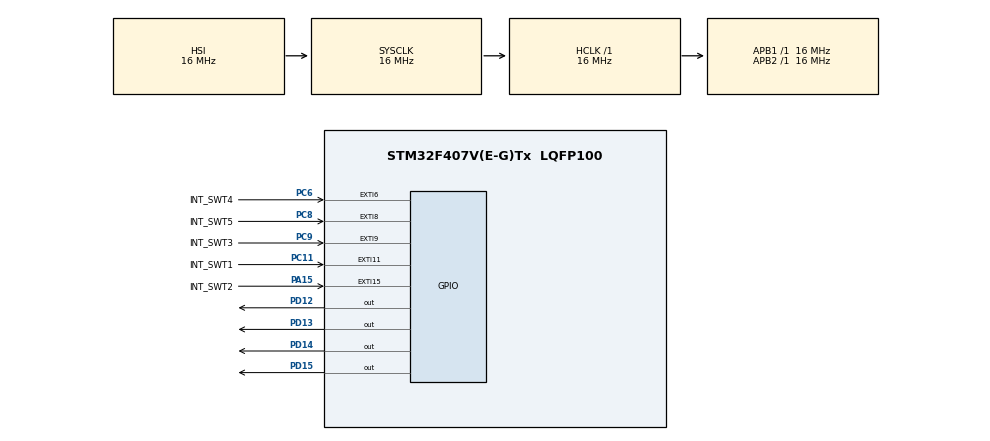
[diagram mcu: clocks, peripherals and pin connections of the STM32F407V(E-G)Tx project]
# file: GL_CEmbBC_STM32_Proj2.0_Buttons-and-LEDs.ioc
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Mcu.Family=STM32F4
Mcu.Name=STM32F407V(E-G)Tx
Mcu.Package=LQFP100
NVIC.EXTI15_10_IRQn=true\:0\:0\:false\:false\:true\:true\:true
NVIC.EXTI9_5_IRQn=true\:0\:0\:false\:false\:true\:true\:true
NVIC.PriorityGroup=NVIC_PRIORITYGROUP_4
PA15.GPIO_Label=INT_SWT2
PA15.GPIO_ModeDefaultEXTI=GPIO_MODE_IT_FALLING
PA15.Signal=GPXTI15
PC11.GPIO_Label=INT_SWT1
PC11.GPIO_ModeDefaultEXTI=GPIO_MODE_IT_FALLING
PC11.Signal=GPXTI11
PC6.GPIO_Label=INT_SWT4
PC6.GPIO_ModeDefaultEXTI=GPIO_MODE_IT_FALLING
PC6.Signal=GPXTI6
PC8.GPIO_Label=INT_SWT5
PC8.GPIO_ModeDefaultEXTI=GPIO_MODE_IT_FALLING
PC8.Signal=GPXTI8
PC9.GPIO_Label=INT_SWT3
PC9.GPIO_ModeDefaultEXTI=GPIO_MODE_IT_FALLING
PC9.Signal=GPXTI9
PD12.Signal=GPIO_Output
PD13.Signal=GPIO_Output
PD14.Signal=GPIO_Output
PD15.Signal=GPIO_Output
ProjectManager.HeapSize=0x200
ProjectManager.StackSize=0x400
ProjectManager.TargetToolchain=STM32CubeIDE
RCC.AHBFreq_Value=16000000
RCC.APB1Freq_Value=16000000
RCC.APB2Freq_Value=16000000
RCC.CortexFreq_Value=16000000
RCC.HSE_VALUE=25000000
RCC.HSI_VALUE=16000000
RCC.LSE_VALUE=32768
RCC.SYSCLKFreq_VALUE=16000000
RCC.VCOOutputFreq_Value=192000000
board=custom

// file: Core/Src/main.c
/* USER CODE BEGIN Header */
/**
  ******************************************************************************
  * @file           : main.c
  * @brief          : Main program body
  ******************************************************************************
  * @attention
  *
  * <h2><center>&copy; Copyright (c) 2021 STMicroelectronics.
  * All rights reserved.</center></h2>
  *
  * This software component is licensed by ST under BSD 3-Clause license,
  * the "License"; You may not use this file except in compliance with the
  * License. You may obtain a copy of the License at:
  *                        opensource.org/licenses/BSD-3-Clause
  *
  ******************************************************************************
  */
/* USER CODE END Header */
#include "main.h"

/* USER CODE BEGIN PV */

//static GPIO_PinState button_up = GPIO_PIN_RESET;
uint32_t blink_delay = 500;
uint8_t blink_mode = 0;
uint8_t blink_modes_num = 3;
bool is_enabled = true;

/* USER CODE END PV */

void SystemClock_Config(void);
static void MX_GPIO_Init(void);

int main(void)
{

  /* MCU Configuration--------------------------------------------------------*/

  /* Reset of all peripherals, Initializes the Flash interface and the Systick. */
  HAL_Init();

  /* Configure the system clock */
  SystemClock_Config();

  /* Initialize all configured peripherals */
  MX_GPIO_Init();
  /* USER CODE BEGIN 2 */

	// note: HARDWARE SETUP

	// pin_D12 = LED green	- INT_SWT5
	// pin_D13 = LED orange	- INT_SWT3
	// pin_D14 = LED red	- INT_SWT4
	// pin_D15 = LED blue	- INT_SWT1

	// pin_A15 	= button SWT2 (center)	- INT_SWT2
	// pin_C6	= button SWT4 (up)		- INT_SWT4
	// pin_C8	= button SWT5 (down)	- INT_SWT5
	// pin_C9	= button SWT3 (left)	- INT_SWT3
	// pin_C11 	= button SWT1 (right)	- INT_SWT1

  HAL_GPIO_WritePin(GPIOD, GPIO_PIN_12 | GPIO_PIN_13 | GPIO_PIN_14 | GPIO_PIN_15, GPIO_PIN_SET);
  HAL_Delay(1000);
  HAL_GPIO_WritePin(GPIOD, GPIO_PIN_12 | GPIO_PIN_13 | GPIO_PIN_14 | GPIO_PIN_15, GPIO_PIN_RESET);

  bool active_leds[4] = {0};
  uint8_t active_leds_size = (sizeof(active_leds) / sizeof(active_leds[0]));

  uint8_t mode0_i = 0;

  uint8_t mode1_i = 0;
  bool mode1_seq[4][4] =
  {
	  // g,o,r,b
  		{0,0,1,0}, 	// red
  		{0,1,1,0},	// red, orange
 		{1,0,0,0},	// green
  		{0,1,0,0}	// orange
  };

  /* USER CODE END 2 */

  /* Infinite loop */
  /* USER CODE BEGIN WHILE */
  while (1)
  {

	if (is_enabled)
	{
		switch(blink_mode)
		{
			case 0:
				// single active, shift on 1 led
				active_leds[mode0_i] = 0;
				active_leds[(mode0_i+1) % active_leds_size] = 1;
				mode0_i = (mode0_i+1) % active_leds_size;
				break;
			case 1:
				// road light sequence
				active_leds[0] = mode1_seq[mode1_i][0];
				active_leds[1] = mode1_seq[mode1_i][1];
				active_leds[2] = mode1_seq[mode1_i][2];
				active_leds[3] = mode1_seq[mode1_i][3];
				mode1_i = (mode1_i+1) % active_leds_size;
				break;
			default:
				// all leds blink sync
				active_leds[1] = active_leds[0];
				active_leds[2] = active_leds[0];
				active_leds[3] = active_leds[0];
				for (uint8_t i = 0; i < active_leds_size; i++)
				{
					active_leds[i] = !active_leds[i];
				}
				break;
		}

		HAL_GPIO_WritePin
		(
			GPIOD,
			active_leds[0] * GPIO_PIN_12 | active_leds[1] * GPIO_PIN_13 | active_leds[2] * GPIO_PIN_14 | active_leds[3] * GPIO_PIN_15,
			GPIO_PIN_SET
		);
		HAL_Delay(blink_delay);
		HAL_GPIO_WritePin(GPIOD, GPIO_PIN_12 | GPIO_PIN_13 | GPIO_PIN_14 | GPIO_PIN_15, GPIO_PIN_RESET);
	}

    /* USER CODE END WHILE */

  }
}

void SystemClock_Config(void)
{
  RCC_OscInitTypeDef RCC_OscInitStruct = {0};
  RCC_ClkInitTypeDef RCC_ClkInitStruct = {0};

  /** Configure the main internal regulator output voltage
  */
  __HAL_RCC_PWR_CLK_ENABLE();
  __HAL_PWR_VOLTAGESCALING_CONFIG(PWR_REGULATOR_VOLTAGE_SCALE1);
  /** Initializes the RCC Oscillators according to the specified parameters
  * in the RCC_OscInitTypeDef structure.
  */
  RCC_OscInitStruct.OscillatorType = RCC_OSCILLATORTYPE_HSI;
  RCC_OscInitStruct.HSIState = RCC_HSI_ON;
  RCC_OscInitStruct.HSICalibrationValue = RCC_HSICALIBRATION_DEFAULT;
  RCC_OscInitStruct.PLL.PLLState = RCC_PLL_NONE;
  if (HAL_RCC_OscConfig(&RCC_OscInitStruct) != HAL_OK)
  {
    Error_Handler();
  }
  /** Initializes the CPU, AHB and APB buses clocks
  */
  RCC_ClkInitStruct.ClockType = RCC_CLOCKTYPE_HCLK|RCC_CLOCKTYPE_SYSCLK
                              |RCC_CLOCKTYPE_PCLK1|RCC_CLOCKTYPE_PCLK2;
  RCC_ClkInitStruct.SYSCLKSource = RCC_SYSCLKSOURCE_HSI;
  RCC_ClkInitStruct.AHBCLKDivider = RCC_SYSCLK_DIV1;
  RCC_ClkInitStruct.APB1CLKDivider = RCC_HCLK_DIV1;
  RCC_ClkInitStruct.APB2CLKDivider = RCC_HCLK_DIV1;

  if (HAL_RCC_ClockConfig(&RCC_ClkInitStruct, FLASH_LATENCY_0) != HAL_OK)
  {
    Error_Handler();
  }
}

static void MX_GPIO_Init(void)
{
  GPIO_InitTypeDef GPIO_InitStruct = {0};

  /* GPIO Ports Clock Enable */
  __HAL_RCC_GPIOD_CLK_ENABLE();
  __HAL_RCC_GPIOC_CLK_ENABLE();
  __HAL_RCC_GPIOA_CLK_ENABLE();

  /*Configure GPIO pin Output Level */
  HAL_GPIO_WritePin(GPIOD, GPIO_PIN_12|GPIO_PIN_13|GPIO_PIN_14|GPIO_PIN_15, GPIO_PIN_RESET);

  /*Configure GPIO pins : PD12 PD13 PD14 PD15 */
  GPIO_InitStruct.Pin = GPIO_PIN_12|GPIO_PIN_13|GPIO_PIN_14|GPIO_PIN_15;
  GPIO_InitStruct.Mode = GPIO_MODE_OUTPUT_PP;
  GPIO_InitStruct.Pull = GPIO_NOPULL;
  GPIO_InitStruct.Speed = GPIO_SPEED_FREQ_LOW;
  HAL_GPIO_Init(GPIOD, &GPIO_InitStruct);

  /*Configure GPIO pins : INT_SWT4_Pin INT_SWT5_Pin INT_SWT3_Pin INT_SWT1_Pin */
  GPIO_InitStruct.Pin = INT_SWT4_Pin|INT_SWT5_Pin|INT_SWT3_Pin|INT_SWT1_Pin;
  GPIO_InitStruct.Mode = GPIO_MODE_IT_FALLING;
  GPIO_InitStruct.Pull = GPIO_NOPULL;
  HAL_GPIO_Init(GPIOC, &GPIO_InitStruct);

  /*Configure GPIO pin : INT_SWT2_Pin */
  GPIO_InitStruct.Pin = INT_SWT2_Pin;
  GPIO_InitStruct.Mode = GPIO_MODE_IT_FALLING;
  GPIO_InitStruct.Pull = GPIO_NOPULL;
  HAL_GPIO_Init(INT_SWT2_GPIO_Port, &GPIO_InitStruct);

  /* EXTI interrupt init*/
  HAL_NVIC_SetPriority(EXTI9_5_IRQn, 0, 0);
  HAL_NVIC_EnableIRQ(EXTI9_5_IRQn);

  HAL_NVIC_SetPriority(EXTI15_10_IRQn, 0, 0);
  HAL_NVIC_EnableIRQ(EXTI15_10_IRQn);

}

void Error_Handler(void)
{
  __disable_irq();
  while (1)
  {
  }
}

/************************ (C) COPYRIGHT STMicroelectronics *****END OF FILE****/
